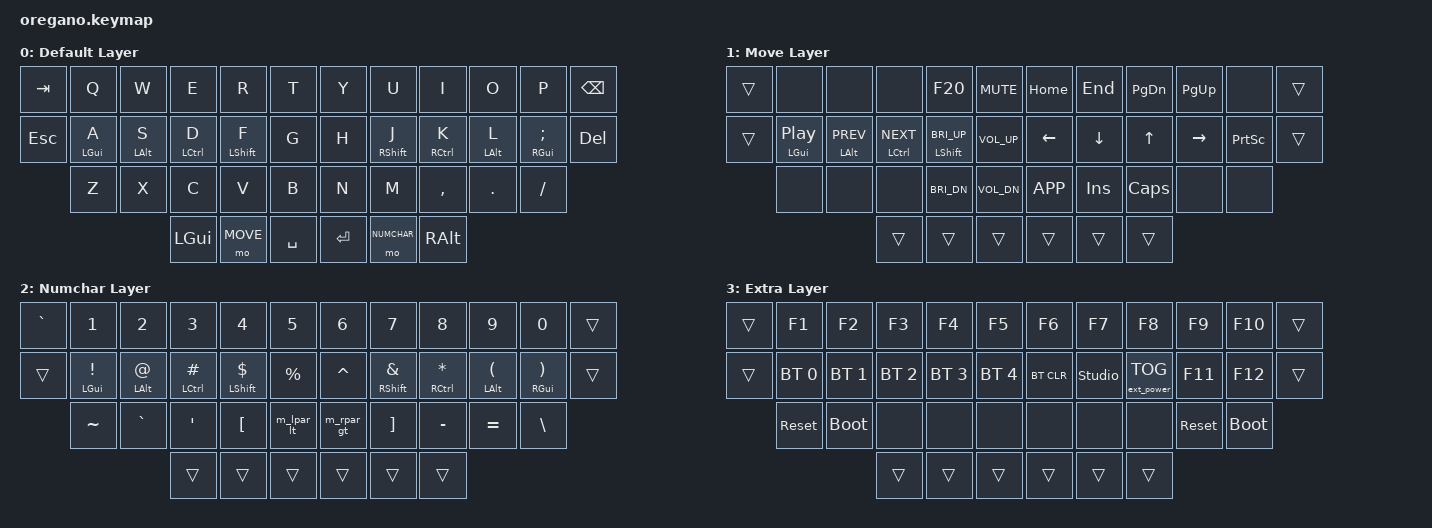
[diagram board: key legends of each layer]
#include <behaviors.dtsi>
#include <dt-bindings/zmk/keys.h>
#include <dt-bindings/zmk/bt.h>
#include <dt-bindings/zmk/ext_power.h>

#define DEFAULT 0
#define MOVE    1
#define NUMCHAR 2
#define EXTRA   3

/ {
        behaviors {
                hml: home_row_mod_left {
                        compatible = "zmk,behavior-hold-tap";
                        #binding-cells = <2>;
                        flavor = "balanced";
                        require-prior-idle-ms = <150>;
                        tapping-term-ms = <280>;
                        quick-tap-ms = <175>;
                        bindings = <&kp>, <&kp>;
                        hold-trigger-key-positions = <6 7 8 9 10 11 18 19 20 21 22 23 29 30 31 32 33 37 38 39>;
                        hold-trigger-on-release;
                };
                hmr: home_row_mod_right {
                        compatible = "zmk,behavior-hold-tap";
                        #binding-cells = <2>;
                        flavor = "balanced";
                        require-prior-idle-ms = <150>;
                        tapping-term-ms = <280>;
                        quick-tap-ms = <175>;
                        bindings = <&kp>, <&kp>;
                        hold-trigger-key-positions = <0 1 2 3 4 5 12 13 14 15 16 17 24 25 26 27 28 34 35 36>;
                        hold-trigger-on-release;
                };

                m_lpar_lt: m_lpar_lt {
                        compatible = "zmk,behavior-mod-morph";
                        #binding-cells = <0>;
                        bindings = <&kp LPAR>, <&kp COMMA>;
                        mods = <(MOD_LSFT|MOD_RSFT)>;
                        keep-mods = <(MOD_LSFT|MOD_RSFT)>;
                };
                m_rpar_gt: m_rpar_gt {
                        compatible = "zmk,behavior-mod-morph";
                        #binding-cells = <0>;
                        bindings = <&kp RPAR>, <&kp DOT>;
                        mods = <(MOD_LSFT|MOD_RSFT)>;
                        keep-mods = <(MOD_LSFT|MOD_RSFT)>;
                };
                m_bspc_del: m_bspc_del {
                        compatible = "zmk,behavior-mod-morph";
                        #binding-cells = <0>;
                        bindings = <&kp BSPC>, <&kp DEL>;
                        mods = <(MOD_LSFT|MOD_RSFT)>;
                };
        };

//        combos {
//                compatible = "zmk,combos";
//                combo_esc {
//                        timeout-ms = <40>;
//                        key-positions = <14 15>;
//                        bindings = <&kp ESC>;
//                };
//                combo_bspc {
//                        timeout-ms = <40>;
//                        key-positions = <20 21>;
//                        bindings = <&m_bspc_del>;
//                };
//                combo_tab {
//                        timeout-ms = <40>;
//                        key-positions = <15 16>;
//                        bindings = <&kp TAB>;
//                };
//                combo_ret {
//                        timeout-ms = <40>;
//                        key-positions = <19 20>;
//                        bindings = <&kp RET>;
//                };
//
//                // problemem było zrobienie ctrl+shift+tab albo enter itd, jak to się rozwiąże to spoko
//        };

        conditional_layers {
                compatible = "zmk,conditional-layers";
                tri_layer {
                        if-layers = <MOVE NUMCHAR>;
                        then-layer = <EXTRA>;
                };
        };

        keymap {
                compatible = "zmk,keymap";

                default_layer {
                        display-name = "Default Layer";

//      0         1         2         3         4         5             6         7         8         9         10        11
// ╭─────────┬─────────┬─────────┬─────────┬─────────┬─────────╮   ╭─────────┬─────────┬─────────┬─────────┬─────────┬─────────╮
// │   TAB   │    Q    │    W    │    E    │    R    │    T    │   │    Y    │    U    │    I    │    O    │    P    │  BSPC   │
// ├─────────┼─────────┼─────────┼─────────┼─────────┼─────────┤   ├─────────┼─────────┼─────────┼─────────┼─────────┼─────────┤
// │   ESC   │ GUI / A │LALT / S │ CTRL / D│ SHFT / F│    G    │   │    H    │ SHFT / J│ CTRL / K│LALT / L │ GUI / ; │   DEL   │
// ╰─────────┼─────────┼─────────┼─────────┼─────────┼─────────┤   ├─────────┼─────────┼─────────┼─────────┼─────────┼─────────╯
//           │    Z    │    X    │    C    │    V    │    B    │   │    N    │    M    │   , <   │   . >   │   / ?   │          
//           ╰─────────┴─────────┼─────────┼─────────┼─────────┤   ├─────────┼─────────┼─────────┼─────────┴─────────╯          
//                               │   GUI   │  MOVE   │  SPACE  │   │  ENTER  │ NUMCHAR │  RALT   │
//                               ╰─────────┴─────────┴─────────╯   ╰─────────┴─────────┴─────────╯                              
                        bindings = <
   &kp TAB    &kp Q        &kp W            &kp E             &kp R                &kp T                &kp Y             &kp U             &kp I           &kp O           &kp P           &kp BSPC
   &kp ESC    &hml LGUI A  &hml LALT S      &hml LCTRL D      &hml LSHIFT F        &kp G                &kp H             &hmr RSHIFT J     &hmr RCTRL K    &hmr LALT L     &hmr RGUI SEMI  &kp DEL
              &kp Z        &kp X            &kp C             &kp V                &kp B                &kp N             &kp M             &kp COMMA       &kp DOT         &kp FSLH        
                                            &kp LGUI          &mo MOVE             &kp SPACE            &kp RET           &mo NUMCHAR       &kp RALT
                        >;
                };
                move_layer {
                        display-name = "Move Layer";
// ╭─────────┬─────────┬─────────┬─────────┬─────────┬─────────╮   ╭─────────┬─────────┬─────────┬─────────┬─────────┬─────────╮
// │  trans  │  none   │  none   │  none   │ MICMUTE │  MUTE   │   │  HOME   │   END   │  PG DN  │  PG UP  │  none   │  trans  │
// ├─────────┼─────────┼─────────┼─────────┼─────────┼─────────┤   ├─────────┼─────────┼─────────┼─────────┼─────────┼─────────┤
// │  trans  │  PLAY   │  PREV   │  NEXT   │  BRI U  │  VOL U  │   │  LEFT   │  DOWN   │   UP    │  RIGHT  │  PRINT  │  trans  │
// ╰─────────┼─────────┼─────────┼─────────┼─────────┼─────────┤   ├─────────┼─────────┼─────────┼─────────┼─────────┼─────────╯
//           │  none   │  none   │  none   │  BRI D  │  VOL D  │   │   APP   │   INS   │  CAPS   │  none   │  none   │          
//           ╰─────────┴─────────┼─────────┼─────────┼─────────┤   ├─────────┼─────────┼─────────┼─────────┴─────────╯          
//                               │  trans  │  trans  │  trans  │   │  trans  │  trans  │  trans  │                              
//                               ╰─────────┴─────────┴─────────╯   ╰─────────┴─────────┴─────────╯                              
                        bindings = <
   &trans    &none          &none            &none             &kp F20              &kp C_MUTE           &kp HOME          &kp END           &kp PG_DN       &kp PG_UP       &none           &trans
   &trans    &hml LGUI C_PP &hml LALT C_PREV &hml LCTRL C_NEXT &hml LSHIFT C_BRI_UP &kp C_VOL_UP         &kp LEFT          &kp DOWN          &kp UP          &kp RIGHT       &kp PSCRN       &trans
             &none          &none            &none             &kp C_BRI_DN         &kp C_VOL_DN         &kp K_APP         &kp INS           &kp CAPS        &none           &none          
                                             &trans            &trans               &trans               &trans            &trans            &trans
                        >;
                };

                numchar_layer {
                        display-name = "Numchar Layer";
// ╭─────────┬─────────┬─────────┬─────────┬─────────┬─────────╮   ╭─────────┬─────────┬─────────┬─────────┬─────────┬─────────╮
// │   ` ~   │   1 !   │   2 @   │   3 #   │   4 $   │   5 %   │   │   6 ^   │   7 &   │   8 *   │   9 (   │   0 )   │  trans  │
// ├─────────┼─────────┼─────────┼─────────┼─────────┼─────────┤   ├─────────┼─────────┼─────────┼─────────┼─────────┼─────────┤
// │  trans  │    !    │    @    │    #    │    $    │    %    │   │    ^    │    &    │    *    │    (    │    )    │  trans  │
// ╰─────────┼─────────┼─────────┼─────────┼─────────┼─────────┤   ├─────────┼─────────┼─────────┼─────────┼─────────┼─────────╯
//           │    ~    │   ` ~   │   ' "   │  [ {    │   ( <   │   │   ) >   │   ] }   │   - _   │   = +   │   \ |   │
//           ╰─────────┴─────────┼─────────┼─────────┼─────────┤   ├─────────┼─────────┼─────────┼─────────┴─────────╯          
//                               │  trans  │  trans  │  trans  │   │  trans  │  trans  │  trans  │                              
//                               ╰─────────┴─────────┴─────────╯   ╰─────────┴─────────┴─────────╯                              
                        bindings = <
   &kp GRAVE  &kp N1         &kp N2         &kp N3            &kp N4               &kp N5               &kp N6            &kp N7           &kp N8           &kp N9          &kp N0          &trans
   &trans     &hml LGUI EXCL &hml LALT AT   &hml LCTRL HASH   &hml LSHIFT DLLR     &kp PRCNT            &kp CARET         &hmr RSHIFT AMPS &hmr RCTRL ASTRK &hmr LALT LPAR &hmr RGUI RPAR &trans
              &kp TILDE      &kp GRAVE      &kp SQT           &kp LBKT             &m_lpar_lt           &m_rpar_gt        &kp RBKT         &kp MINUS        &kp EQUAL      &kp BSLH
                                           &trans            &trans               &trans               &trans            &trans            &trans
                        >;
                };

                extra_layer {
                        display-name = "Extra Layer";
// ╭─────────┬─────────┬─────────┬─────────┬─────────┬─────────╮   ╭─────────┬─────────┬─────────┬─────────┬─────────┬─────────╮
// │  trans  │   F1    │   F2    │   F3    │   F4    │   F5    │   │   F6    │   F7    │   F8    │   F9    │   F10   │  trans  │
// ├─────────┼─────────┼─────────┼─────────┼─────────┼─────────┤   ├─────────┼─────────┼─────────┼─────────┼─────────┼─────────┤
// │  trans  │  BT 1   │  BT 2   │  BT 3   │  BT 4   │  BT 5   │   │ BT CLR  │ ZMK STU │  EP TG  │   F11   │   F12   │  trans  │
// ╰─────────┼─────────┼─────────┼─────────┼─────────┼─────────┤   ├─────────┼─────────┼─────────┼─────────┼─────────┼─────────╯
//           │  BOOT   │ SYS RES │  none   │  none   │  none   │   │  none   │  none   │  none   │ SYS RES │  BOOT   │          
//           ╰─────────┴─────────┼─────────┼─────────┼─────────┤   ├─────────┼─────────┼─────────┼─────────┴─────────╯          
//                               │  trans  │  trans  │  trans  │   │  trans  │  trans  │  trans  │                              
//                               ╰─────────┴─────────┴─────────╯   ╰─────────┴─────────┴─────────╯                              
                        bindings = <
   &trans    &kp F1        &kp F2           &kp F3            &kp F4               &kp F5               &kp F6            &kp F7            &kp F8            &kp F9          &kp F10         &trans
   &trans    &bt BT_SEL 0  &bt BT_SEL 1     &bt BT_SEL 2      &bt BT_SEL 3         &bt BT_SEL 4         &bt BT_CLR        &studio_unlock    &ext_power EP_TOG &kp F11         &kp F12         &trans
             &sys_reset    &bootloader      &none             &none                &none                &none             &none             &none             &sys_reset      &bootloader          
                                           &trans            &trans               &trans               &trans            &trans            &trans
                        >;
                };
        };
};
